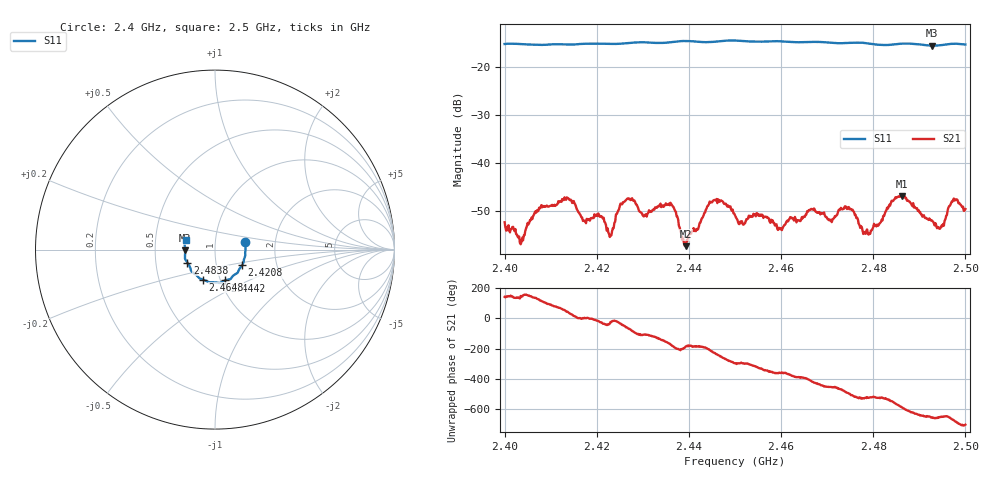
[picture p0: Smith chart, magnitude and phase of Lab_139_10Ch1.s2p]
# Hz S RI R 50
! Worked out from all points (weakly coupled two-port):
!   601 points, 2.4 GHz to 2.5 GHz, reference 50 ohm
!   highest |S21| = -46.82 dB at 2.4862 GHz (marker M1); lowest = -57.3 dB at 2.4393 GHz (marker M2)
!   lowest |S11| = -15.6 dB at 2.4928 GHz (marker M3), VSWR 1.40, Z = 35.8 - j0.354 ohm
!   |S11| at or under -10 dB: start of sweep to end of sweep
!   S12 and S22 are empty: the file has one direction only
!   S11 on the Smith chart (normalised r, x): 2.4 GHz: 1.40, +0.12; 2.4208 GHz: 1.33, -0.24; 2.4442 GHz: 1.05, -0.37; 2.4648 GHz: 0.83, -0.29; 2.4838 GHz: 0.73, -0.11; 2.5 GHz: 0.72, +0.08
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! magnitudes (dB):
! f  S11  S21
! 2.4 GHz  -15.3  -52.3
! 2.4038 GHz  -15.3  -55.5
! 2.4075 GHz  -15.4  -49.3
! 2.4135 GHz  -15.3  -47.1
! 2.4167 GHz  -15.2  -51.3
! 2.4208 GHz  -15.2  -51.1
! 2.423 GHz  -15.2  -55.0
! 2.4263 GHz  -15.1  -47.7
! 2.4333 GHz  -15.0  -49.0
! 2.4365 GHz  -14.8  -49.0
! 2.4393 GHz  -14.6  -57.3
! 2.4442 GHz  -14.9  -48.9
! 2.45 GHz  -14.5  -50.8
! 2.4648 GHz  -14.9  -51.1
! 2.4667 GHz  -14.8  -49.5
! 2.475 GHz  -15.0  -49.5
! 2.4788 GHz  -15.1  -54.7
! 2.4833 GHz  -15.5  -49.1
! 2.4838 GHz  -15.4  -48.3
! 2.4862 GHz  -15.2  -46.8
! 2.4928 GHz  -15.6  -52.0
! 2.5 GHz  -15.4  -49.6
